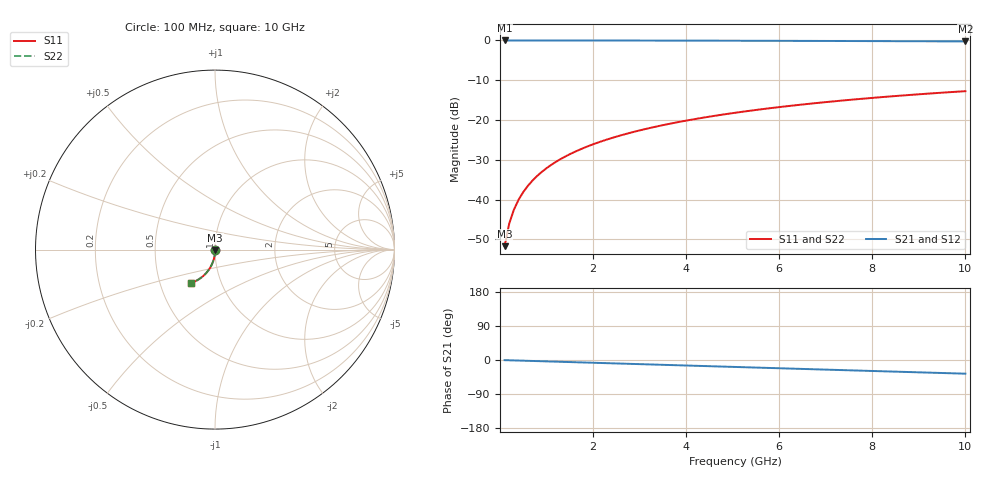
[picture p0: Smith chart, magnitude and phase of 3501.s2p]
# Hz S RI R 50.00
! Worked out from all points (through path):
!   100 points, 100 MHz to 10 GHz, reference 50 ohm
!   highest |S21| = -0.01 dB at 100 MHz (marker M1); lowest = -0.2 dB at 10 GHz (marker M2)
!   group delay of S21, straight-line fit = 10 ps
!   lowest |S11| = -51.7 dB at 100 MHz (marker M3), VSWR 1.01, Z = 50.1 - j0.248 ohm
!   |S11| at or under -10 dB: start of sweep to end of sweep
!   |S22| runs from -51.7 to -12.8 dB; largest |S21 - S12| = 0
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1e8  0.000755 -0.00248  0.9992 -0.00633  0.9992 -0.00633  0.000755 -0.00248
2e8  0.000708 -0.00496  0.9991 -0.0127  0.9991 -0.0127  0.000708 -0.00496
3e8  0.00063 -0.00744  0.999 -0.019  0.999 -0.019  0.00063 -0.00744
4e8  0.000519 -0.00991  0.9988 -0.0253  0.9988 -0.0253  0.000519 -0.00991
5e8  0.000376 -0.0124  0.9986 -0.0317  0.9986 -0.0317  0.000376 -0.0124
6e8  0.000202 -0.0149  0.9983 -0.038  0.9983 -0.038  0.000202 -0.0149
7e8  -4.47e-06 -0.0173  0.998 -0.0443  0.998 -0.0443  -4.47e-06 -0.0173
8e8  -0.000242 -0.0198  0.9977 -0.0506  0.9977 -0.0506  -0.000242 -0.0198
9e8  -0.000511 -0.0223  0.9973 -0.057  0.9973 -0.057  -0.000511 -0.0223
1.1e9  -0.00114 -0.0272  0.9964 -0.0696  0.9964 -0.0696  -0.00114 -0.0272
1.4e9  -0.00232 -0.0346  0.9946 -0.0885  0.9946 -0.0885  -0.00232 -0.0346
1.8e9  -0.00434 -0.0443  0.9916 -0.1137  0.9916 -0.1137  -0.00434 -0.0443
2.1e9  -0.00617 -0.0515  0.9889 -0.1325  0.9889 -0.1325  -0.00617 -0.0515
2.5e9  -0.00903 -0.061  0.9847 -0.1574  0.9847 -0.1574  -0.00903 -0.061
2.9e9  -0.0124 -0.0704  0.9797 -0.1822  0.9797 -0.1822  -0.0124 -0.0704
3.4e9  -0.0172 -0.0819  0.9725 -0.213  0.9725 -0.213  -0.0172 -0.0819
4.2e9  -0.0264 -0.0995  0.9586 -0.2615  0.9586 -0.2615  -0.0264 -0.0995
5.1e9  -0.0389 -0.118  0.9398 -0.3148  0.9398 -0.3148  -0.0389 -0.118
5.9e9  -0.0516 -0.1332  0.9204 -0.361  0.9204 -0.361  -0.0516 -0.1332
6.7e9  -0.0657 -0.147  0.8984 -0.4057  0.8984 -0.4057  -0.0657 -0.147
8.4e9  -0.0997 -0.171  0.8443 -0.4954  0.8443 -0.4954  -0.0997 -0.171
1e10  -0.1352 -0.1863  0.7853 -0.5724  0.7853 -0.5724  -0.1352 -0.1863
